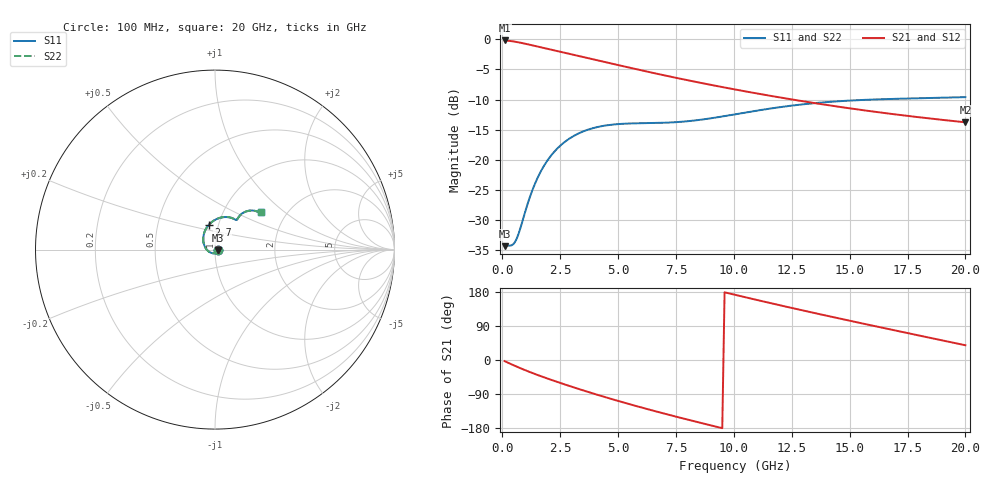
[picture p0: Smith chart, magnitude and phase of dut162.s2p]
! Touchstone file exported from HFSS 2023.1.0
!  File:  D:/Users/fzz/RDL_TSV/temp_RDL_TSV_162_1778753551.aedt
!  Generated:  6:21:12 %x4E0B%x5348  5%x6708 14, 2026
!  Design:  RDL_TSV
!  Project:  temp_RDL_TSV_162_1778753551
!  Setup:  Setup1
!  Solution:  Sweep
! Variables:
!  dtsv = 22.14um
!  hbump = 3um
!  htsv = 71.71um
!  ldown = 648.02um
!  lrdl = 610.26um
!  p = 40
!  p1 = 52.46um
!  rhole = 10um
!  subl = 4385.1um
!  t = 450um
!  tdown = 2.91um
!  trdl = 4.91um
!  viad = 10um
!  wdown = 23.6um
!  wrdl = 19.17um
!  xbump = 18um
# GHz S MA R 50.000000
! Terminal data exported
! Port[1] = TM1_1_T1
! Port[2] = TM1_4_T1
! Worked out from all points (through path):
!   200 points, 100 MHz to 20 GHz, reference 50 ohm
!   highest |S21| = -0.18 dB at 100 MHz (marker M1); lowest = -13.8 dB at 20 GHz (marker M2)
!   group delay of S21, straight-line fit = 42.5 ps
!   lowest |S11| = -34.4 dB at 100 MHz (marker M3), VSWR 1.04, Z = 51.9 - j0.455 ohm
!   |S11| at or under -10 dB: start of sweep to 15.97 GHz
!   |S22| runs from -34.4 to -9.6 dB; largest |S21 - S12| = 9.7e-15
!   S11 on the Smith chart (normalised r, x): 100 MHz: 1.04, -0.01; 2.7 GHz: 0.90, +0.25; 20 GHz: 1.50, +0.70
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0.1  0.01913 -13.2  0.9797 -3.0  0.9797 -3.0  0.01913 -13.2
! Gamma 0 0 0 0
! Port Impedance 50 0 50 0
0.4  0.01944 -63.6  0.9666 -11.5  0.9666 -11.5  0.01943 -63.6
0.6  0.02156 -103.6  0.9532 -16.9  0.9532 -16.9  0.02155 -103.6
0.9  0.03229 -153.3  0.9285 -24.7  0.9285 -24.7  0.03232 -153.4
1.3  0.05587 167.1  0.8921 -34.4  0.8921 -34.4  0.05595 167.0
1.6  0.07576 147.8  0.865 -41.3  0.865 -41.3  0.07589 147.7
1.9  0.09542 132.9  0.8387 -47.8  0.8387 -47.8  0.09559 132.9
2.3  0.1197 117.3  0.8053 -56.3  0.8053 -56.3  0.1199 117.2
2.7  0.1408 104.8  0.7735 -64.6  0.7735 -64.6  0.1411 104.8
3.5  0.1721 85.8  0.7133 -80.4  0.7133 -80.4  0.1725 85.8
4.3  0.1902 72.5  0.6574 -95.4  0.6574 -95.4  0.1907 72.5
5.1  0.1984 63.4  0.6059 -109.7  0.6059 -109.7  0.199 63.3
5.9  0.2009 57.7  0.5591 -123.5  0.5591 -123.5  0.2016 57.6
6.8  0.2023 54.6  0.5121 -138.3  0.5121 -138.3  0.2031 54.5
8.3  0.2118 53.9  0.4457 -161.9  0.4457 -161.9  0.2125 53.8
10.1  0.2392 53.8  0.382 171.3  0.382 171.3  0.2397 53.6
11.7  0.2685 51.6  0.3365 148.5  0.3365 148.5  0.2687 51.4
13.4  0.2942 47.8  0.2973 125.1  0.2973 125.1  0.2942 47.6
15  0.3101 44.2  0.2674 103.7  0.2674 103.7  0.31 44.0
16.7  0.3196 41.2  0.2417 81.4  0.2417 81.4  0.3195 41.1
18.4  0.3254 39.5  0.2209 59.5  0.2209 59.5  0.3252 39.4
20  0.3313 38.8  0.2047 38.9  0.2047 38.9  0.3311 38.7
